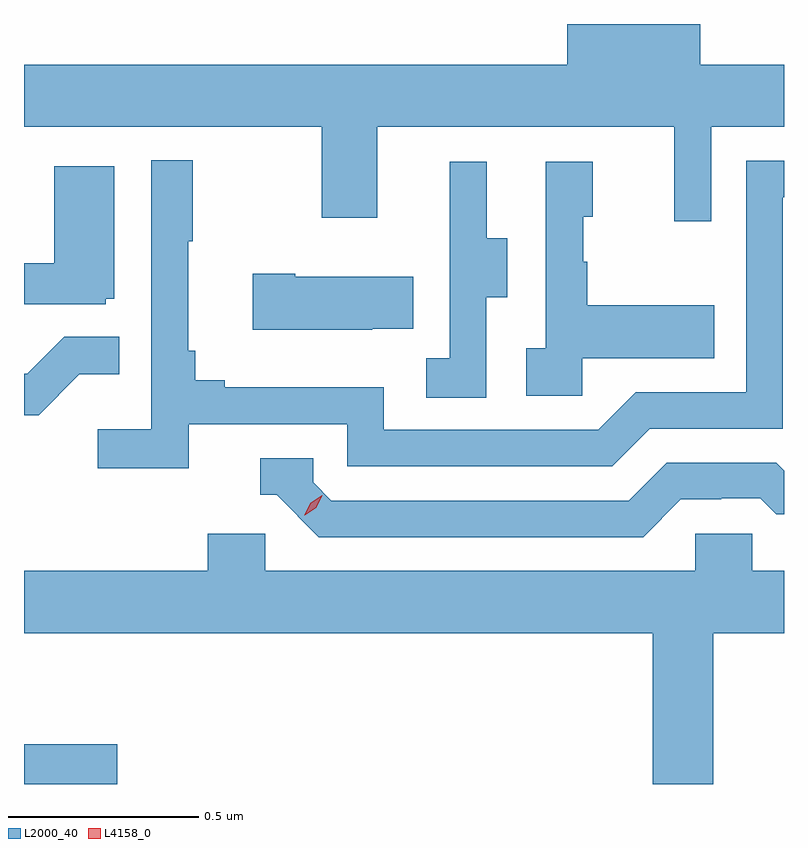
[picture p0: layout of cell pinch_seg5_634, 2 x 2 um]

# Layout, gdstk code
import gdstk
lib = gdstk.Library(unit=1e-6, precision=1e-09)
def R(c, l, rs):  # rectangles x0, y0, x1, y1
    for r in rs: c.add(gdstk.rectangle(r[:2], r[2:], *l))
def P(c, l, *ps):  # polygons
    for p in ps: c.add(gdstk.Polygon(p, *l))
L2000_40 = (2000, 40)
L4158_0 = (4158, 0)

pinch_seg5_634 = lib.new_cell('pinch_seg5_634')
R(pinch_seg5_634, L2000_40, [(1061.479,865.687,1061.725,865.791)])
P(pinch_seg5_634, L2000_40, [(1063.287,867.416),(1063.479,867.416),(1063.479,867.58),(1063.258,867.58),(1063.258,867.687),(1062.908,867.687),(1062.908,867.58),(1061.479,867.58),(1061.479,867.416),(1062.262,867.416),(1062.262,867.177),(1062.409,867.177),(1062.409,867.416),(1063.19,867.416),(1063.19,867.168),(1063.287,867.168)],
  [(1061.912,866.634),(1062.33,866.634),(1062.33,866.523),(1063.027,866.523),(1063.126,866.622),(1063.476,866.622),(1063.476,867.231),(1063.479,867.231),(1063.479,867.327),(1063.38,867.327),(1063.38,866.718),(1063.089,866.718),(1062.99,866.619),(1062.426,866.619),(1062.426,866.731),(1062.007,866.731),(1062.007,866.75),(1061.93,866.75),(1061.93,866.827),(1061.911,866.827),(1061.911,867.115),(1061.923,867.115),(1061.923,867.328),(1061.814,867.328),(1061.814,866.62),(1061.673,866.62),(1061.673,866.518),(1061.912,866.518)],
  [(1062.696,866.968),(1062.751,866.968),(1062.751,867.123),(1062.697,867.123),(1062.697,867.325),(1062.599,867.325),(1062.599,867.111),(1062.6,867.111),(1062.6,866.807),(1062.537,866.807),(1062.537,866.704),(1062.696,866.704)],
  [(1062.948,866.807),(1063.295,866.807),(1063.295,866.947),(1062.961,866.947),(1062.961,867.062),(1062.951,867.062),(1062.951,867.18),(1062.976,867.18),(1062.976,867.325),(1062.852,867.325),(1062.852,866.834),(1062.801,866.834),(1062.801,866.709),(1062.948,866.709)],
  [(1061.694,866.964),(1061.716,866.964),(1061.716,867.313),(1061.558,867.313),(1061.558,867.058),(1061.479,867.058),(1061.479,866.949),(1061.694,866.949)],
  [(1062.395,866.885),(1062.503,866.885),(1062.503,867.022),(1062.193,867.022),(1062.193,867.03),(1062.081,867.03),(1062.081,866.882),(1062.395,866.882)],
  [(1061.625,866.765),(1061.729,866.765),(1061.729,866.864),(1061.585,866.864),(1061.487,866.766),(1061.479,866.766),(1061.479,866.658),(1061.518,866.658)],
  [(1063.207,866.436),(1063.314,866.436),(1063.314,866.439),(1063.417,866.439),(1063.459,866.397),(1063.479,866.397),(1063.479,866.512),(1063.459,866.532),(1063.17,866.532),(1063.071,866.433),(1062.288,866.433),(1062.24,866.481),(1062.24,866.544),(1062.101,866.544),(1062.101,866.448),(1062.144,866.448),(1062.255,866.337),(1063.108,866.337)],
  [(1063.293,866.084),(1063.479,866.084),(1063.479,866.248),(1063.395,866.248),(1063.395,866.346),(1063.245,866.346),(1063.245,866.248),(1062.114,866.248),(1062.114,866.346),(1061.963,866.346),(1061.963,866.248),(1061.479,866.248),(1061.479,866.084),(1063.133,866.084),(1063.133,865.687),(1063.293,865.687)])
P(pinch_seg5_634, L4158_0, [(1062.217,866.394),(1062.217,866.394),(1062.234,866.427),(1062.264,866.447),(1062.264,866.447),(1062.264,866.446),(1062.248,866.414),(1062.218,866.394)])

lib.write_gds('pinch_seg5_634.gds')
